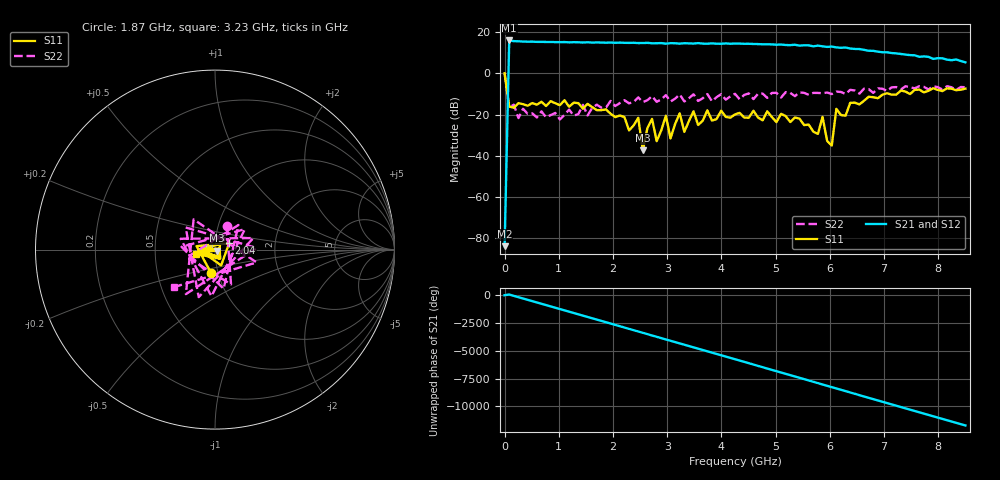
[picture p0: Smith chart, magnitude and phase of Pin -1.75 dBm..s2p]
! RsaToolbox (C) 2013 Rohde & Schwarz America
! Number of points: 101
! Number of ports: 2
! Balanced ports?: 0
# Hz S RI R 50
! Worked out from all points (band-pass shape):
!   101 points, 9 kHz to 8.5 GHz, reference 50 ohm
!   highest |S21| = 16.02 dB at 85.01 MHz (marker M1); lowest = -84.0 dB at 9 kHz (marker M2)
!   |S21| within 3 dB of the highest: 82.46 MHz to 5.905 GHz (5.822 GHz wide, 194 % of centre); 6.018749 GHz to 6.042114 GHz (23.37 MHz wide, 0.387 % of centre)
!   lowest |S11| = -37.4 dB at 2.55 GHz (marker M3), VSWR 1.03, Z = 51.2 - j0.596 ohm
!   |S11| at or under -10 dB: 52.7 MHz to 7.014 GHz (6.962 GHz wide, 197 % of centre); 7.098 GHz to 7.239 GHz (140.6 MHz wide, 1.96 % of centre); 7.477807 GHz to 7.481287 GHz (3.48 MHz wide, 0.0465 % of centre)
!   |S22| runs from -22.4 to 0.1 dB; largest |S21 - S12| = 0
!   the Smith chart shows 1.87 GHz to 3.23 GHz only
!   S11 on the Smith chart (normalised r, x): 1.87 GHz: 0.93, -0.25; 2.04 GHz: 1.17, +0.08; 3.23 GHz: 0.81, -0.04
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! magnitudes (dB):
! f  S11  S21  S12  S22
! 9 kHz  0.0  -84.0  -84.0  0.1
! 85.01 MHz  -16.2  16.0  16.0  -16.6
! 1.445 GHz  -17.2  15.0  15.0  -15.3
! 1.87 GHz  -17.5  14.9  14.9  -16.6
! 2.04 GHz  -21.3  14.9  14.9  -15.9
! 2.465 GHz  -21.6  14.8  14.8  -11.7
! 2.55 GHz  -37.4  14.8  14.8  -14.0
! 2.72 GHz  -22.1  14.6  14.6  -11.1
! 2.805 GHz  -33.0  14.7  14.7  -13.8
! 2.89 GHz  -27.7  14.7  14.7  -12.7
! 2.975 GHz  -20.6  14.4  14.4  -10.6
! 3.06 GHz  -31.6  14.7  14.7  -13.7
! 3.23 GHz  -19.4  14.5  14.5  -10.2
! 3.315 GHz  -28.4  14.7  14.7  -13.6
! 3.485 GHz  -18.4  14.5  14.5  -10.2
! 4.25 GHz  -19.9  14.5  14.5  -9.9
! 5.695 GHz  -28.3  13.2  13.2  -9.5
! 5.865 GHz  -21.1  13.1  13.1  -9.6
! 6.035 GHz  -35.1  13.1  13.1  -10.1
! 6.12 GHz  -17.2  12.6  12.6  -8.8
! 7.14 GHz  -10.3  9.9  9.9  -6.8
! 8.5 GHz  -7.4  5.4  5.4  -6.7
